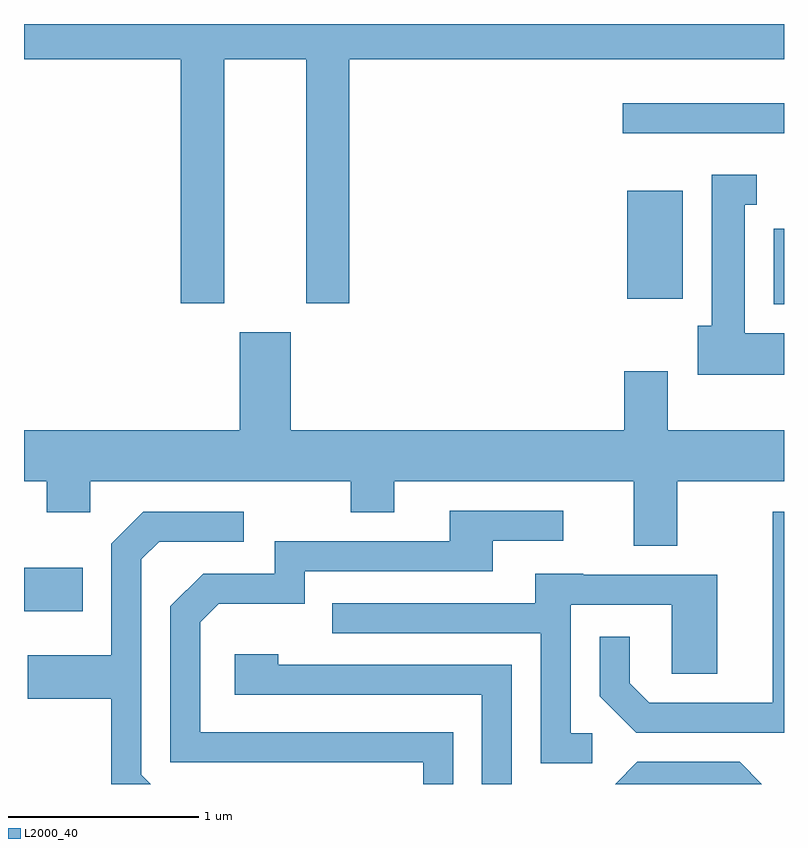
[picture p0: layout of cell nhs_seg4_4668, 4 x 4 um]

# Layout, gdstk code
import gdstk
lib = gdstk.Library(unit=1e-6, precision=1e-09)
def R(c, l, rs):  # rectangles x0, y0, x1, y1
    for r in rs: c.add(gdstk.rectangle(r[:2], r[2:], *l))
def P(c, l, *ps):  # polygons
    for p in ps: c.add(gdstk.Polygon(p, *l))
L2000_40 = (2000, 40)

nhs_seg4_4668 = lib.new_cell('nhs_seg4_4668')
R(nhs_seg4_4668, L2000_40, [(321.611,1342.891,321.919,1343.119), (325.556,1344.506,325.611,1344.904), (324.786,1344.536,325.079,1345.104), (324.763,1345.406,325.611,1345.564)])
P(nhs_seg4_4668, L2000_40, [(322.664,1345.796),(323.096,1345.796),(323.096,1344.511),(323.324,1344.511),(323.324,1345.796),(325.611,1345.796),(325.611,1345.982),(321.611,1345.982),(321.611,1345.796),(322.436,1345.796),(322.436,1344.511),(322.664,1344.511)],
  [(325.611,1344.354),(325.404,1344.354),(325.404,1345.031),(325.468,1345.031),(325.468,1345.189),(325.231,1345.189),(325.231,1344.394),(325.156,1344.394),(325.156,1344.136),(325.611,1344.136)],
  [(325.049,1343.576),(325.611,1343.576),(325.611,1343.844),(324.999,1343.844),(324.999,1344.154),(324.771,1344.154),(324.771,1343.844),(323.014,1343.844),(323.014,1344.359),(322.746,1344.359),(322.746,1343.844),(321.611,1343.844),(321.611,1343.576),(321.731,1343.576),(321.731,1343.411),(321.959,1343.411),(321.959,1343.576),(323.331,1343.576),(323.331,1343.411),(323.559,1343.411),(323.559,1343.576),(324.821,1343.576),(324.821,1343.236),(325.049,1343.236)],
  [(323.869,1342.254),(322.539,1342.254),(322.539,1342.834),(322.637,1342.931),(323.089,1342.931),(323.089,1343.101),(324.079,1343.101),(324.079,1343.261),(324.448,1343.261),(324.448,1343.419),(323.851,1343.419),(323.851,1343.259),(322.931,1343.259),(322.931,1343.089),(322.554,1343.089),(322.381,1342.917),(322.381,1342.096),(323.711,1342.096),(323.711,1341.982),(323.869,1341.982)],
  [(322.229,1342.032),(322.229,1343.164),(322.322,1343.256),(322.768,1343.256),(322.768,1343.414),(322.239,1343.414),(322.071,1343.247),(322.071,1342.659),(321.631,1342.659),(321.631,1342.431),(322.071,1342.431),(322.071,1341.982),(322.279,1341.982)],
  [(325.611,1343.414),(325.551,1343.414),(325.551,1342.409),(324.902,1342.409),(324.799,1342.512),(324.799,1342.758),(324.641,1342.758),(324.641,1342.444),(324.834,1342.251),(325.611,1342.251)],
  [(324.603,1342.249),(324.489,1342.249),(324.489,1342.926),(325.021,1342.926),(325.021,1342.561),(325.259,1342.561),(325.259,1343.084),(324.555,1343.084),(324.555,1343.089),(324.301,1343.089),(324.301,1342.934),(323.233,1342.934),(323.233,1342.776),(324.331,1342.776),(324.331,1342.091),(324.603,1342.091)],
  [(324.179,1342.609),(322.949,1342.609),(322.949,1342.664),(322.721,1342.664),(322.721,1342.451),(324.021,1342.451),(324.021,1341.982),(324.179,1341.982)],
  [(325.377,1342.099),(324.839,1342.099),(324.722,1341.982),(325.494,1341.982)])

lib.write_gds('nhs_seg4_4668.gds')
